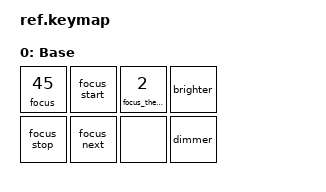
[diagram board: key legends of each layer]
/*
 * Minimal keymap for the CI reference build.
 *
 * Four positions on a fictional 2x2 matrix — see ref_dongle.overlay for why.
 * Bindings this module adds get exercised here as they arrive, so CI fails if a
 * behaviour stops resolving rather than only if the widgets stop compiling.
 */

#include <behaviors.dtsi>
#include <dt-bindings/zmk/keys.h>

/ {
    /* Declared here rather than in a shield overlay, deliberately. In a split,
     * the peripherals compile this same keymap but not the display shield — a
     * behaviour node declared in the shield would leave them referencing a node
     * they cannot see, and every half build fails with "undefined node label". */
    behaviors {
        /* Label short, node name descriptive. The label is what a keymap types
         * and this one repeats across a row of lengths, so `&focus 45` keeps a
         * timer layer readable where `&focus_time 45` would not. The two
         * zero-parameter behaviours appear once each and read better spelled
         * out. Labels are the consumer's choice — the module's API is the
         * compatible, not this. */
        focus: focus_time {
            compatible = "zmk,behavior-focus-time";
            #binding-cells = <1>;
        };

        focus_start: focus_start {
            compatible = "zmk,behavior-focus-start";
            #binding-cells = <0>;
        };

        focus_stop: focus_stop {
            compatible = "zmk,behavior-focus-stop";
            #binding-cells = <0>;
        };

        /* Selecting a palette is display-facing, but the node belongs here with
         * the others: the peripherals compile this keymap and must resolve
         * every binding in it. The behaviour only touches the timer core, which
         * every target builds, so it links on a board with no screen. */
        focus_theme: focus_theme {
            compatible = "zmk,behavior-focus-theme";
            #binding-cells = <1>;
        };

        focus_next: focus_theme_next {
            compatible = "zmk,behavior-focus-theme-next";
            #binding-cells = <0>;
        };

        /* One node per direction, each carrying its own step. The keymap reads
         * as two named keys rather than one behaviour plus a magic constant,
         * which is what the derived tree's &bri BRI_UP needed a header for. */
        brighter: screen_brighter {
            compatible = "zmk,behavior-screen-brightness";
            step = <20>;
            #binding-cells = <0>;
        };

        dimmer: screen_dimmer {
            compatible = "zmk,behavior-screen-brightness";
            step = <(-20)>;
            #binding-cells = <0>;
        };
    };

    keymap {
        compatible = "zmk,keymap";

        base_layer {
            display-name = "Base";
            bindings = <
&focus 45    &focus_start  &focus_theme 2  &brighter
&focus_stop  &focus_next   &none           &dimmer
            >;
        };
    };
};
